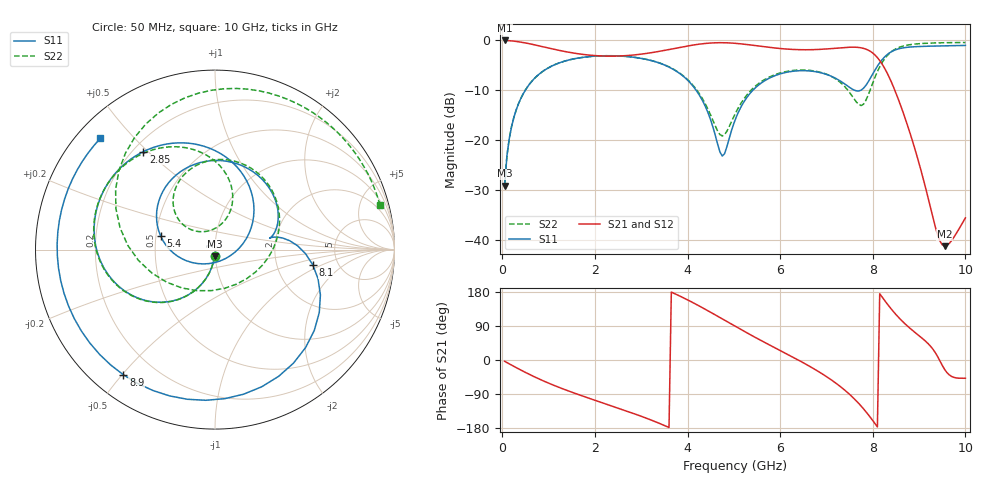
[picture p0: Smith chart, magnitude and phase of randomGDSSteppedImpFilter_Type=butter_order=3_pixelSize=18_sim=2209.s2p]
! freq	dB(S11)	phase(S11)	dB(S12)	phase(S12)
!  dB(S21)	phase(S21)	dB(S22)	phase(S22)
!S-par simulation data
#  GHz  S  DB  R 50
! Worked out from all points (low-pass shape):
!   200 points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, 50 MHz to 10 GHz, reference 50 ohm
!   highest |S21| = -0.01 dB at 50 MHz (marker M1); lowest = -41.3 dB at 9.55 GHz (marker M2)
!   |S21| within 3 dB of the highest: start of sweep to 1.952 GHz; 2.737 GHz to 8.056 GHz (5.319 GHz wide, 98.6 % of centre)
!   lowest |S11| = -29.1 dB at 50 MHz (marker M3), VSWR 1.07, Z = 49.7 - j3.47 ohm
!   |S11| at or under -10 dB: start of sweep to 496.5 MHz; 4.185 GHz to 5.412 GHz (1.227 GHz wide, 25.6 % of centre); 7.606 GHz to 7.742 GHz (135.6 MHz wide, 1.77 % of centre)
!   |S22| runs from -29.1 to -0.4 dB; largest |S21 - S12| = 0
!   S11 on the Smith chart (normalised r, x): 50 MHz: 0.99, -0.07; 2.85 GHz: 0.24, +0.48; 5.4 GHz: 0.53, +0.09; 8.1 GHz: 3.25, -0.79; 8.9 GHz: 0.09, -0.50; 10 GHz: 0.07, +0.40
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0.05  -29.14 -93.7  -0.01 -3.4  -0.01 -3.4  -29.14 -93.7
0.2  -17.31 -104.0  -0.10 -13.5  -0.10 -13.5  -17.31 -104.0
0.5  -9.94 -123.4  -0.51 -32.8  -0.51 -32.8  -9.94 -123.2
1.75  -3.39 173.2  -2.82 -95.8  -2.82 -95.8  -3.39 174.3
2.85  -3.40 126.1  -2.92 -141.8  -2.92 -141.8  -3.39 130.0
3.4  -4.57 98.9  -2.18 -167.6  -2.18 -167.6  -4.54 106.5
4.1  -8.97 53.7  -0.96 152.5  -0.96 152.5  -8.82 75.4
4.75  -23.20 -67.6  -0.46 108.3  -0.46 108.3  -19.17 105.9
5.05  -15.44 -158.1  -0.60 87.4  -0.60 87.4  -14.34 141.6
5.4  -10.11 166.0  -0.96 63.7  -0.96 63.7  -9.73 134.9
6.05  -6.59 117.6  -1.67 21.9  -1.67 21.9  -6.41 103.5
6.7  -6.19 71.0  -1.86 -21.2  -1.86 -21.2  -6.08 66.7
7.15  -7.38 36.7  -1.61 -56.4  -1.61 -56.4  -7.45 33.8
7.55  -9.73 13.1  -1.36 -96.4  -1.36 -96.4  -11.11 -18.0
7.85  -9.04 11.4  -1.74 -136.1  -1.74 -136.1  -12.06 -113.5
8.1  -5.18 -8.8  -3.45 -176.6  -3.45 -176.6  -6.25 177.2
8.35  -2.57 -47.3  -7.30 142.0  -7.30 142.0  -2.69 132.7
8.6  -1.59 -86.3  -13.01 107.0  -13.01 107.0  -1.29 101.2
8.9  -1.27 -126.2  -21.48 73.8  -21.48 73.8  -0.74 74.6
9.2  -1.17 -159.0  -31.80 42.6  -31.80 42.6  -0.56 54.6
9.55  -1.09 169.4  -41.29 -24.5  -41.29 -24.5  -0.46 35.8
10  -1.01 135.8  -35.62 -48.2  -35.62 -48.2  -0.43 15.2
